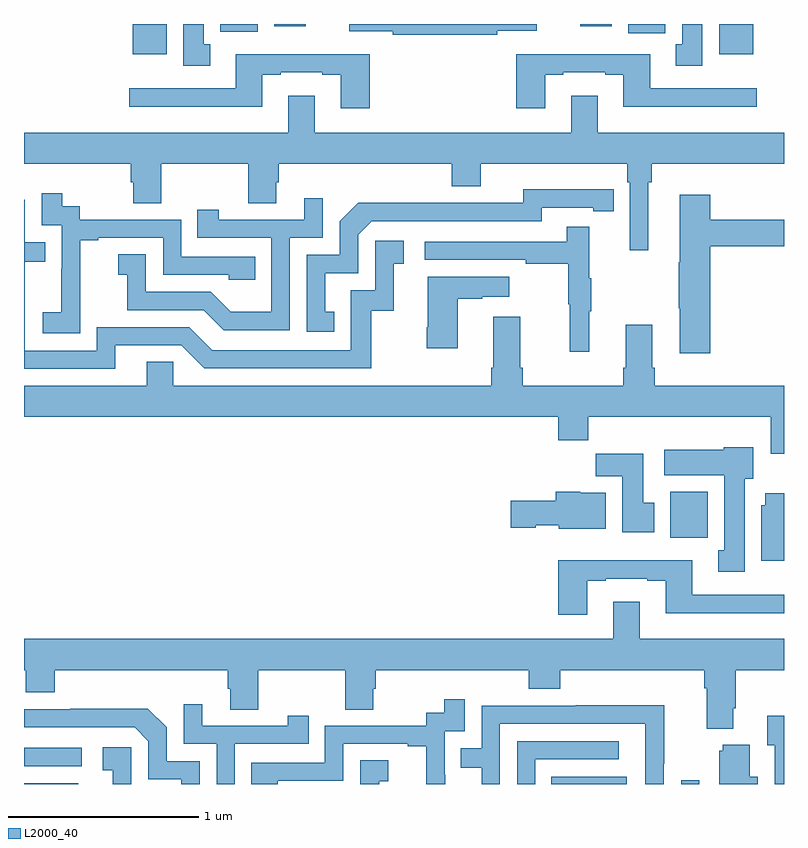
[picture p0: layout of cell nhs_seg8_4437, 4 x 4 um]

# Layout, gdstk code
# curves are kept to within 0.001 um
import gdstk
lib = gdstk.Library(unit=1e-6, precision=1e-09)
def R(c, l, rs):  # rectangles x0, y0, x1, y1
    for r in rs: c.add(gdstk.rectangle(r[:2], r[2:], *l))
def P(c, l, *ps):  # polygons
    for p in ps: c.add(gdstk.Polygon(p, *l))
L2000_40 = (2000, 40)

nhs_seg8_4437 = lib.new_cell('nhs_seg8_4437')
R(nhs_seg8_4437, L2000_40, [(381,1115.9,381.286,1115.905), (383.776,1115.9,384.172,1115.938), (384.459,1115.9,384.555,1115.92), (381,1115.994,381.304,1116.09), (384.401,1117.196,384.598,1117.438), (381.572,1119.74,381.751,1119.9), (384.659,1119.74,384.838,1119.9), (384.179,1119.852,384.375,1119.9), (382.034,1119.86,382.231,1119.9), (382.316,1119.888,382.483,1119.9), (383.927,1119.888,384.094,1119.9)])
P(nhs_seg8_4437, L2000_40, [(383.492,1119.864),(383.698,1119.864),(383.698,1119.9),(382.712,1119.9),(382.712,1119.863),(382.94,1119.863),(382.94,1119.844),(383.492,1119.844)],
  [(381.979,1119.794),(381.946,1119.794),(381.946,1119.9),(381.839,1119.9),(381.839,1119.681),(381.979,1119.681)],
  [(384.571,1119.9),(384.464,1119.9),(384.464,1119.793),(384.431,1119.793),(384.431,1119.681),(384.571,1119.681)],
  [(383.743,1119.633),(383.839,1119.633),(383.839,1119.645),(384.059,1119.645),(384.059,1119.633),(384.155,1119.633),(384.155,1119.464),(384.856,1119.464),(384.856,1119.561),(384.295,1119.561),(384.295,1119.742),(383.591,1119.742),(383.591,1119.456),(383.743,1119.456)],
  [(382.82,1119.742),(382.115,1119.742),(382.115,1119.561),(381.555,1119.561),(381.555,1119.464),(382.255,1119.464),(382.255,1119.633),(382.351,1119.633),(382.351,1119.645),(382.571,1119.645),(382.571,1119.633),(382.667,1119.633),(382.667,1119.456),(382.82,1119.456)],
  [(384.286,1119.068),(384.305,1119.068),(384.305,1119.164),(385,1119.164),(385,1119.328),(384.019,1119.328),(384.019,1119.523),(383.879,1119.523),(383.879,1119.328),(382.531,1119.328),(382.531,1119.523),(382.391,1119.523),(382.391,1119.328),(381,1119.328),(381,1119.164),(381.563,1119.164),(381.563,1119.066),(381.575,1119.066),(381.575,1118.956),(381.723,1118.956),(381.723,1119.164),(382.18,1119.164),(382.18,1118.956),(382.327,1118.956),(382.327,1119.066),(382.34,1119.066),(382.34,1119.164),(383.252,1119.164),(383.252,1119.047),(383.404,1119.047),(383.404,1119.164),(384.176,1119.164),(384.176,1119.068),(384.189,1119.068),(384.189,1118.709),(384.286,1118.709)],
  [(382.634,1118.385),(382.585,1118.385),(382.585,1118.589),(382.758,1118.589),(382.758,1118.79),(382.83,1118.862),(383.724,1118.862),(383.724,1118.934),(383.996,1118.934),(383.996,1118.914),(384.104,1118.914),(384.104,1119.03),(383.628,1119.031),(383.628,1118.958),(383.168,1118.958),(383.168,1118.96),(382.76,1118.96),(382.662,1118.862),(382.662,1118.685),(382.488,1118.685),(382.488,1118.28),(382.634,1118.28)],
  [(381.297,1118.479),(381.296,1118.479),(381.296,1118.763),(381.391,1118.763),(381.391,1118.775),(381.732,1118.775),(381.732,1118.58),(382.077,1118.58),(382.077,1118.553),(382.217,1118.553),(382.217,1118.676),(381.828,1118.676),(381.828,1118.871),(381.294,1118.871),(381.294,1118.94),(381.202,1118.94),(381.202,1119.01),(381.093,1119.01),(381.093,1118.841),(381.198,1118.841),(381.198,1118.612),(381.197,1118.612),(381.197,1118.383),(381.099,1118.383),(381.099,1118.273),(381.297,1118.273)],
  [(384.611,1118.729),(385,1118.729),(385,1118.871),(384.611,1118.871),(384.611,1119.001),(384.452,1119.001),(384.452,1118.645),(384.445,1118.645),(384.445,1118.404),(384.452,1118.404),(384.452,1118.166),(384.611,1118.166)],
  [(382.398,1118.775),(382.572,1118.775),(382.572,1118.983),(382.475,1118.983),(382.475,1118.871),(382.024,1118.871),(382.024,1118.923),(381.913,1118.923),(381.913,1118.775),(382.302,1118.775),(382.302,1118.386),(382.088,1118.386),(381.984,1118.49),(381.642,1118.49),(381.642,1118.689),(381.495,1118.689),(381.495,1118.579),(381.544,1118.579),(381.544,1118.394),(381.947,1118.394),(382.052,1118.289),(382.398,1118.289)],
  [(381.481,1118.208),(381.828,1118.208),(381.948,1118.088),(382.828,1118.088),(382.828,1118.391),(382.946,1118.391),(382.946,1118.637),(382.999,1118.637),(382.999,1118.758),(382.848,1118.758),(382.848,1118.499),(382.719,1118.499),(382.719,1118.184),(381.99,1118.184),(381.87,1118.304),(381.384,1118.304),(381.384,1118.181),(381.003,1118.181),(381.003,1118.65),(381.113,1118.65),(381.113,1118.751),(381.003,1118.751),(381.003,1118.976),(381,1118.976),(381,1118.085),(381.481,1118.085)],
  [(383.975,1118.387),(383.986,1118.387),(383.986,1118.561),(383.975,1118.561),(383.975,1118.833),(383.857,1118.833),(383.857,1118.754),(383.109,1118.754),(383.109,1118.658),(383.641,1118.658),(383.641,1118.638),(383.865,1118.638),(383.865,1118.424),(383.872,1118.424),(383.872,1118.175),(383.975,1118.175)],
  [(383.284,1118.455),(383.411,1118.455),(383.411,1118.465),(383.554,1118.465),(383.554,1118.569),(383.126,1118.569),(383.126,1118.305),(383.119,1118.305),(383.119,1118.193),(383.284,1118.193)],
  [(385,1117.996),(384.32,1117.996),(384.32,1118.092),(384.307,1118.092),(384.307,1118.317),(384.167,1118.317),(384.167,1118.092),(384.155,1118.092),(384.155,1117.996),(383.624,1117.996),(383.624,1118.092),(383.611,1118.092),(383.611,1118.359),(383.471,1118.359),(383.471,1118.092),(383.459,1118.092),(383.459,1117.996),(381.786,1117.996),(381.786,1118.123),(381.647,1118.123),(381.647,1117.996),(381,1117.996),(381,1117.832),(383.813,1117.832),(383.813,1117.708),(383.969,1117.708),(383.969,1117.832),(384.929,1117.832),(384.929,1117.638),(385,1117.638)],
  [(384.793,1117.506),(384.838,1117.506),(384.838,1117.672),(384.684,1117.672),(384.684,1117.66),(384.369,1117.66),(384.369,1117.526),(384.686,1117.526),(384.686,1117.13),(384.653,1117.13),(384.653,1117.017),(384.793,1117.017)],
  [(384.316,1117.38),(384.259,1117.38),(384.259,1117.639),(384.01,1117.639),(384.01,1117.52),(384.149,1117.52),(384.149,1117.224),(384.316,1117.224)],
  [(384.061,1117.432),(383.928,1117.432),(383.928,1117.438),(383.798,1117.438),(383.798,1117.392),(383.562,1117.392),(383.562,1117.25),(383.694,1117.25),(383.694,1117.262),(383.814,1117.262),(383.814,1117.244),(384.061,1117.244)],
  [(385,1117.429),(384.902,1117.429),(384.902,1117.368),(384.881,1117.368),(384.881,1117.076),(385,1117.076)],
  [(383.965,1116.969),(384.061,1116.969),(384.061,1116.981),(384.281,1116.981),(384.281,1116.969),(384.377,1116.969),(384.377,1116.8),(385,1116.8),(385,1116.897),(384.517,1116.897),(384.517,1117.078),(383.813,1117.078),(383.813,1116.792),(383.965,1116.792)],
  [(384.733,1116.298),(384.746,1116.298),(384.746,1116.5),(385,1116.5),(385,1116.664),(384.241,1116.664),(384.241,1116.859),(384.101,1116.859),(384.101,1116.664),(381,1116.664),(381,1116.5),(381.008,1116.5),(381.008,1116.383),(381.161,1116.383),(381.161,1116.5),(382.073,1116.5),(382.073,1116.402),(382.085,1116.402),(382.085,1116.292),(382.233,1116.292),(382.233,1116.5),(382.69,1116.5),(382.69,1116.292),(382.837,1116.292),(382.837,1116.402),(382.85,1116.402),(382.85,1116.5),(383.657,1116.5),(383.657,1116.401),(383.822,1116.401),(383.822,1116.5),(384.581,1116.5),(384.581,1116.404),(384.593,1116.404),(384.593,1116.191),(384.733,1116.191)],
  [(382.335,1115.916),(382.68,1115.916),(382.68,1116.111),(383.021,1116.111),(383.021,1116.099),(383.117,1116.099),(383.117,1115.9),(383.216,1115.9),(383.216,1115.948),(383.214,1115.948),(383.214,1116.177),(383.319,1116.177),(383.319,1116.346),(383.211,1116.346),(383.211,1116.276),(383.118,1116.276),(383.118,1116.207),(382.584,1116.207),(382.584,1116.012),(382.195,1116.012),(382.195,1115.9),(382.335,1115.9)],
  [(382.11,1116.111),(382.499,1116.111),(382.499,1116.259),(382.388,1116.259),(382.388,1116.207),(381.937,1116.207),(381.937,1116.319),(381.84,1116.319),(381.84,1116.111),(382.014,1116.111),(382.014,1115.9),(382.11,1115.9)],
  [(383.505,1116.216),(384.269,1116.216),(384.269,1115.989),(384.27,1115.989),(384.27,1115.9),(384.366,1115.9),(384.366,1116.007),(384.369,1116.007),(384.369,1116.314),(383.905,1116.314),(383.905,1116.312),(383.409,1116.312),(383.409,1116.087),(383.299,1116.087),(383.299,1115.986),(383.409,1115.986),(383.409,1115.9),(383.505,1115.9)],
  [(381.924,1116.021),(381.75,1116.021),(381.75,1116.198),(381.652,1116.296),(381.244,1116.296),(381.244,1116.294),(381,1116.294),(381,1116.198),(381.582,1116.198),(381.654,1116.126),(381.654,1115.925),(381.827,1115.925),(381.827,1115.9),(381.924,1115.9)],
  [(385,1116.259),(384.911,1116.259),(384.911,1116.103),(384.951,1116.103),(384.951,1115.9),(385,1115.9)],
  [(383.691,1116.03),(384.13,1116.03),(384.13,1116.126),(383.595,1116.126),(383.595,1115.9),(383.691,1115.9)],
  [(384.862,1115.938),(384.82,1115.938),(384.82,1116.106),(384.677,1116.106),(384.677,1116.075),(384.659,1116.075),(384.659,1115.9),(384.862,1115.9)],
  [(381.564,1116.094),(381.414,1116.094),(381.414,1115.973),(381.467,1115.973),(381.467,1115.9),(381.564,1115.9)],
  [(382.869,1115.915),(382.918,1115.915),(382.918,1116.025),(382.77,1116.025),(382.77,1115.9),(382.869,1115.9)])

lib.write_gds('nhs_seg8_4437.gds')
